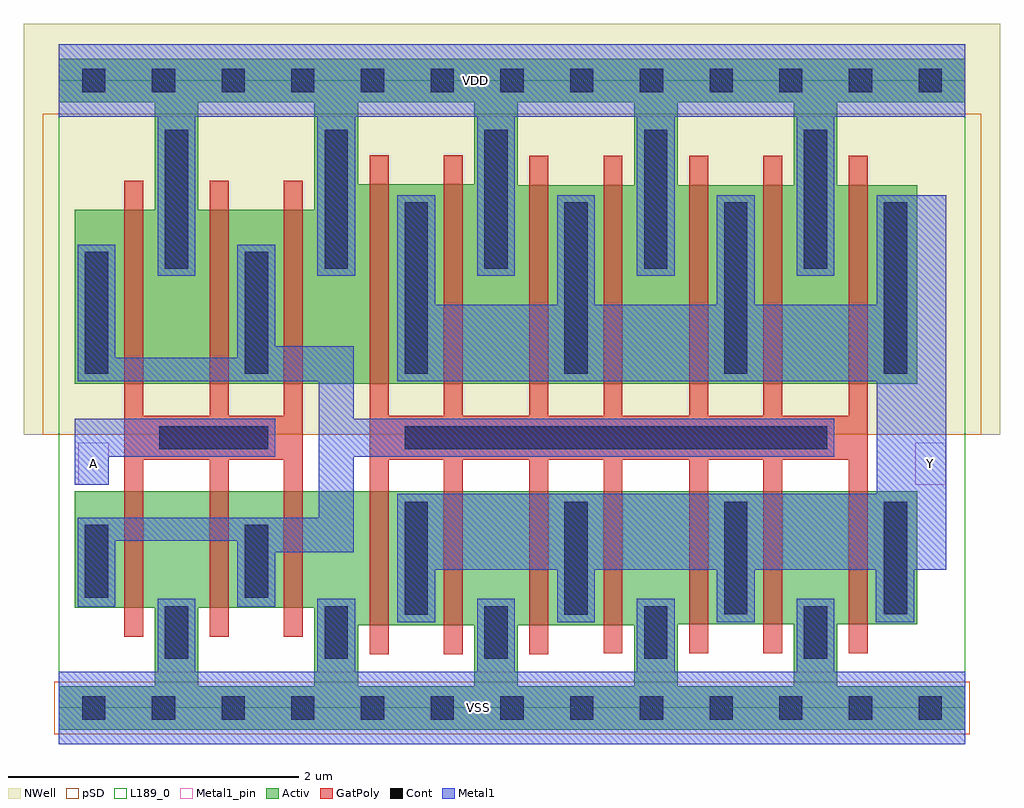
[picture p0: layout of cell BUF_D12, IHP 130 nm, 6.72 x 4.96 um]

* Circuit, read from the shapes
.subckt BUF_D12 A VDD VSS Y
XM1 VSS A n1 VSS sg13_lv_nmos w=0.8u l=0.13u m=3
XM2 Y n1 VSS VSS sg13_lv_nmos w=0.92u l=0.13u m=4
XM3 Y n1 VSS VSS sg13_lv_nmos w=0.915u l=0.13u m=3
XM4 VDD A n1 VDD sg13_lv_pmos w=1.2u l=0.13u m=3
XM5 Y n1 VDD VDD sg13_lv_pmos w=1.375u l=0.13u m=2
XM6 Y n1 VDD VDD sg13_lv_pmos w=1.37u l=0.13u m=5
.ends

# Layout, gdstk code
import gdstk
lib = gdstk.Library(unit=1e-6, precision=1e-09)
def R(c, l, rs):  # rectangles x0, y0, x1, y1
    for r in rs: c.add(gdstk.rectangle(r[:2], r[2:], *l))
def A(c, l, x, y, w, h, nx, ny, dx, dy):  # array of equal rectangles
    R(c, l, [(x+i*dx, y+j*dy, x+i*dx+w, y+j*dy+h) for i in range(nx) for j in range(ny)])
def P(c, l, *ps):  # polygons
    for p in ps: c.add(gdstk.Polygon(p, *l))
Activ = (1, 0)
GatPoly = (5, 0)
Cont = (6, 0)
Metal1 = (8, 0)
Metal1_pin = (8, 2)
pSD = (14, 0)
NWell = (31, 0)
L189_0 = (189, 0)

buf_d12 = lib.new_cell('BUF_D12')
P(buf_d12, Activ, [(0,-0.15),(0,0.15),(0.66,0.15),(0.96,0.15),(1.76,0.15),(2.06,0.15),(2.86,0.15),(3.16,0.15),(3.96,0.15),(4.26,0.15),(5.06,0.15),(5.06,0.575),(4.26,0.575),(4.26,0.15),(3.96,0.15),(3.96,0.57),(3.16,0.57),(3.16,0.15),(2.86,0.15),(2.86,0.57),(2.06,0.57),(2.06,0.15),(1.76,0.15),(1.76,0.69),(0.96,0.69),(0.96,0.15),(0.66,0.15),(0.66,0.69),(0.11,0.69),(0.11,1.49),(5.91,1.49),(5.91,0.575),(5.36,0.575),(5.36,0.15),(6.24,0.15),(6.24,-0.15)],
  [(0.11,2.23),(0.11,3.43),(0.66,3.43),(0.96,3.43),(1.76,3.43),(1.76,3.6),(3.16,3.6),(3.96,3.6),(4.26,3.6),(5.06,3.6),(5.06,4.17),(4.26,4.17),(4.26,3.6),(3.96,3.6),(3.96,4.17),(3.16,4.17),(3.16,3.6),(1.76,3.6),(1.76,3.605),(2.06,3.605),(2.86,3.605),(2.86,4.17),(2.06,4.17),(2.06,3.605),(1.76,3.605),(1.76,4.17),(0.96,4.17),(0.96,3.43),(0.66,3.43),(0.66,4.17),(0,4.17),(0,4.47),(6.24,4.47),(6.24,4.17),(5.36,4.17),(5.36,3.6),(5.91,3.6),(5.91,2.23)])
P(buf_d12, GatPoly, [(2.14,0.37),(2.14,3.805),(2.27,3.805),(2.27,2.01),(2.65,2.01),(2.65,3.805),(2.78,3.805),(2.78,2.01),(3.24,2.01),(3.24,3.8),(3.37,3.8),(3.37,2.01),(3.75,2.01),(3.75,3.8),(3.88,3.8),(3.88,2.01),(4.34,2.01),(4.34,3.8),(4.47,3.8),(4.47,2.01),(4.85,2.01),(4.85,3.8),(4.98,3.8),(4.98,2.01),(5.44,2.01),(5.44,3.8),(5.57,3.8),(5.57,0.375),(5.44,0.375),(5.44,1.71),(4.98,1.71),(4.98,0.375),(4.85,0.375),(4.85,1.71),(4.47,1.71),(4.47,0.375),(4.34,0.375),(4.34,1.71),(3.88,1.71),(3.88,0.375),(3.75,0.375),(3.75,1.71),(3.37,1.71),(3.37,0.37),(3.24,0.37),(3.24,1.71),(2.78,1.71),(2.78,0.37),(2.65,0.37),(2.65,1.71),(2.27,1.71),(2.27,0.37)],
  [(0.45,0.49),(0.45,3.63),(0.58,3.63),(0.58,2.01),(1.04,2.01),(1.04,3.63),(1.17,3.63),(1.17,2.01),(1.55,2.01),(1.55,3.63),(1.68,3.63),(1.68,0.49),(1.55,0.49),(1.55,1.71),(1.17,1.71),(1.17,0.49),(1.04,0.49),(1.04,1.71),(0.58,1.71),(0.58,0.49)])
A(buf_d12, Cont, 0.16, -0.08, 0.16, 0.16, 13, 2, 0.48, 4.32)
A(buf_d12, Cont, 0.73, 0.34, 0.16, 0.36, 5, 1, 1.1, 0)
A(buf_d12, Cont, 2.38, 2.3, 0.16, 1.18, 4, 1, 1.1, 0)
A(buf_d12, Cont, 0.73, 3.025, 0.16, 0.955, 5, 1, 1.1, 0)
R(buf_d12, Cont, [(2.38,0.64,2.54,1.42), (3.48,0.64,3.64,1.42), (4.58,0.645,4.74,1.42), (5.68,0.645,5.84,1.42), (0.18,0.76,0.34,1.26), (1.28,0.76,1.44,1.26), (0.69,1.78,1.44,1.94), (2.38,1.78,5.29,1.94), (0.18,2.3,0.34,3.14), (1.28,2.3,1.44,3.14)])
P(buf_d12, Metal1, [(2.33,0.59),(2.33,1.475),(5.63,1.475),(5.63,2.25),(2.33,2.25),(2.33,3.53),(2.59,3.53),(2.59,2.775),(3.43,2.775),(3.43,3.53),(3.69,3.53),(3.69,2.775),(4.53,2.775),(4.53,3.53),(4.79,3.53),(4.79,2.775),(5.63,2.775),(5.63,3.53),(6.11,3.53),(6.11,0.95),(5.89,0.95),(5.89,0.59),(5.625,0.59),(5.625,0.95),(4.79,0.95),(4.79,0.59),(4.53,0.59),(4.53,0.95),(3.69,0.95),(3.69,0.59),(3.43,0.59),(3.43,0.95),(2.59,0.95),(2.59,0.59)],
  [(0.11,1.535),(0.11,1.99),(1.49,1.99),(1.49,1.73),(0.345,1.73),(0.345,1.535)],
  [(0,-0.25),(0,0.25),(0.68,0.25),(0.68,0.75),(0.94,0.75),(0.94,0.25),(1.78,0.25),(1.78,0.75),(2.04,0.75),(2.04,0.25),(2.88,0.25),(2.88,0.75),(3.14,0.75),(3.14,0.25),(3.98,0.25),(3.98,0.75),(4.24,0.75),(4.24,0.25),(5.08,0.25),(5.08,0.75),(5.34,0.75),(5.34,0.25),(6.24,0.25),(6.24,-0.25)],
  [(0.13,0.695),(0.13,1.31),(1.79,1.31),(1.79,2.25),(0.13,2.25),(0.13,3.19),(0.39,3.19),(0.39,2.41),(1.23,2.41),(1.23,3.19),(1.49,3.19),(1.49,2.49),(2.03,2.49),(2.03,1.99),(5.34,1.99),(5.34,1.73),(2.03,1.73),(2.03,1.07),(1.49,1.07),(1.49,0.695),(1.23,0.695),(1.23,1.15),(0.39,1.15),(0.39,0.695)],
  [(0.68,2.975),(0.68,4.07),(0,4.07),(0,4.57),(6.24,4.57),(6.24,4.07),(5.34,4.07),(5.34,2.975),(5.08,2.975),(5.08,4.07),(4.24,4.07),(4.24,2.975),(3.98,2.975),(3.98,4.07),(3.14,4.07),(3.14,2.975),(2.88,2.975),(2.88,4.07),(2.04,4.07),(2.04,2.975),(1.78,2.975),(1.78,4.07),(0.94,4.07),(0.94,2.975)])
R(buf_d12, Metal1_pin, [(0,-0.25,6.24,0.25), (0.135,1.535,0.345,1.825), (5.895,1.535,6.105,1.825), (0,4.07,6.24,4.57)])
R(buf_d12, pSD, [(-0.03,-0.18,6.27,0.18), (-0.11,1.88,6.35,4.09)])
R(buf_d12, NWell, [(-0.24,1.88,6.48,4.71)])
R(buf_d12, L189_0, [(0,0,6.24,4.32)])
buf_d12.add(gdstk.Label('A', (0.24,1.68), layer=8, texttype=25))
buf_d12.add(gdstk.Label('Y', (6,1.68), layer=8, texttype=25))
buf_d12.add(gdstk.Label('VSS', (2.89,0), layer=8, texttype=25))
buf_d12.add(gdstk.Label('VDD', (2.87,4.32), layer=8, texttype=25))

lib.write_gds('BUF_D12.gds')
